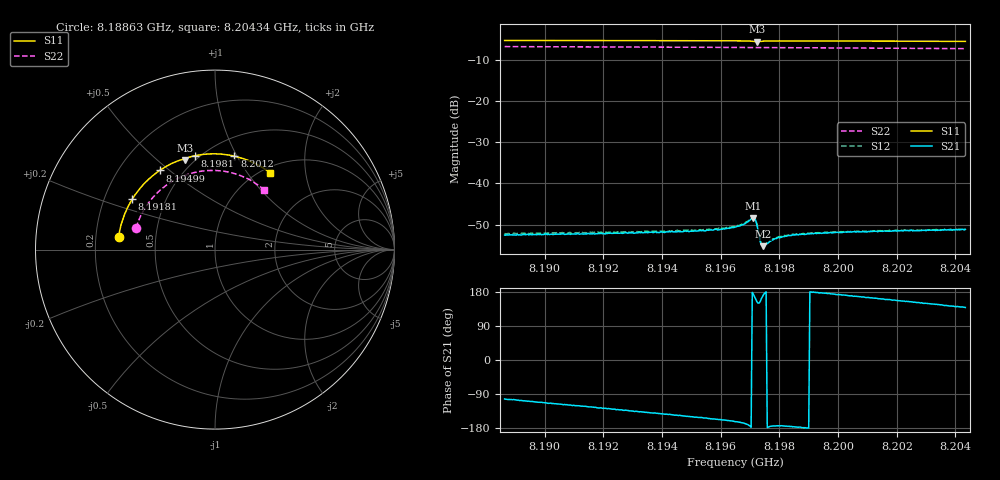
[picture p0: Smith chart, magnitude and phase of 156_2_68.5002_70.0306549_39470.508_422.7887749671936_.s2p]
#  HZ  S  RI  R  50.00
! Rohde & Schwarz Vector Network Analyzer
! Rohde-Schwarz,ZNB20-2Port,1311601062101988,3.16
! Created: UTC 3/20/2024, 4:55:35 PM
! freq[Hz]  re:S11  im:S11  re:S21  im:S21  re:S12  im:S12  re:S22  im:S22
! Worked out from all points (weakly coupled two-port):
!   401 points, 8.18863 GHz to 8.20434 GHz, reference 50 ohm
!   highest |S21| = -48.40 dB at 8.19712 GHz (marker M1); lowest = -55.2 dB at 8.19743 GHz (marker M2)
!   lowest |S11| = -5.6 dB at 8.19723 GHz (marker M3), VSWR 3.20, Z = 22.6 + j31 ohm
!   |S11| at or under -10 dB: nowhere
!   |S22| runs from -7.3 to -6.8 dB; largest |S21 - S12| = 0.00021
!   S11 on the Smith chart (normalised r, x): 8.18863 GHz: 0.30, +0.06; 8.19181 GHz: 0.32, +0.25; 8.19499 GHz: 0.37, +0.46; 8.1981 GHz: 0.47, +0.69; 8.2012 GHz: 0.67, +0.98; 8.20434 GHz: 1.09, +1.29
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8.188634e9  -0.5368 0.0719  -0.000527 -0.0023  -0.000613 -0.00239  -0.44 0.1205
8.191265e9  -0.4808 0.2466  -0.00129 -0.00207  -0.0014 -0.00214  -0.377 0.2514
8.191815e9  -0.4618 0.2802  -0.00145 -0.00198  -0.00157 -0.00203  -0.3587 0.2757
8.193896e9  -0.369 0.3927  -0.00197 -0.00158  -0.00208 -0.00157  -0.2753 0.3556
8.194995e9  -0.308 0.4411  -0.00227 -0.00133  -0.0024 -0.00128  -0.2235 0.3883
8.195976e9  -0.2482 0.4763  -0.00255 -0.00108  -0.00264 -0.000984  -0.1737 0.4112
8.196487e9  -0.2146 0.4915  -0.00281 -0.000884  -0.00291 -0.000848  -0.1466 0.4208
8.196683e9  -0.2008 0.4966  -0.00298 -0.000816  -0.00307 -0.000748  -0.1361 0.424
8.197037e9  -0.1736 0.502  -0.00369 -0.000158  -0.00375 -1.82e-05  -0.1168 0.429
8.197115e9  -0.1675 0.5003  -0.00378 0.000437  -0.00382 0.00058  -0.1123 0.43
8.197194e9  -0.1649 0.4972  -0.00333 0.00123  -0.00337 0.00139  -0.1082 0.4308
8.197233e9  -0.1652 0.4968  -0.00282 0.00139  -0.0028 0.00156  -0.106 0.4313
8.197351e9  -0.1641 0.503  -0.00175 0.00082  -0.00179 0.00092  -0.0999 0.4327
8.197429e9  -0.1594 0.5075  -0.0017 0.000349  -0.00175 0.000432  -0.0955 0.4336
8.197508e9  -0.1537 0.5107  -0.00178 8.51e-05  -0.00184 0.000156  -0.0912 0.4345
8.197783e9  -0.1335 0.5181  -0.00206 -0.000217  -0.00212 -0.000141  -0.0759 0.4369
8.198097e9  -0.1108 0.5236  -0.00222 -0.000249  -0.00229 -0.00013  -0.0582 0.4391
8.198529e9  -0.0802 0.5287  -0.00237 -0.000147  -0.00239 -4.27e-05  -0.0339 0.4408
8.199117e9  -0.0384 0.5328  -0.00247 6.27e-05  -0.0025 0.000133  -0.000551 0.441
8.201198e9  0.108 0.5207  -0.00251 0.000754  -0.00251 0.000843  0.1156 0.4217
8.201748e9  0.1456 0.5108  -0.00246 0.000915  -0.00248 0.00108  0.1454 0.4111
8.204339e9  0.3082 0.428  -0.00208 0.00183  -0.00204 0.00188  0.2721 0.334
